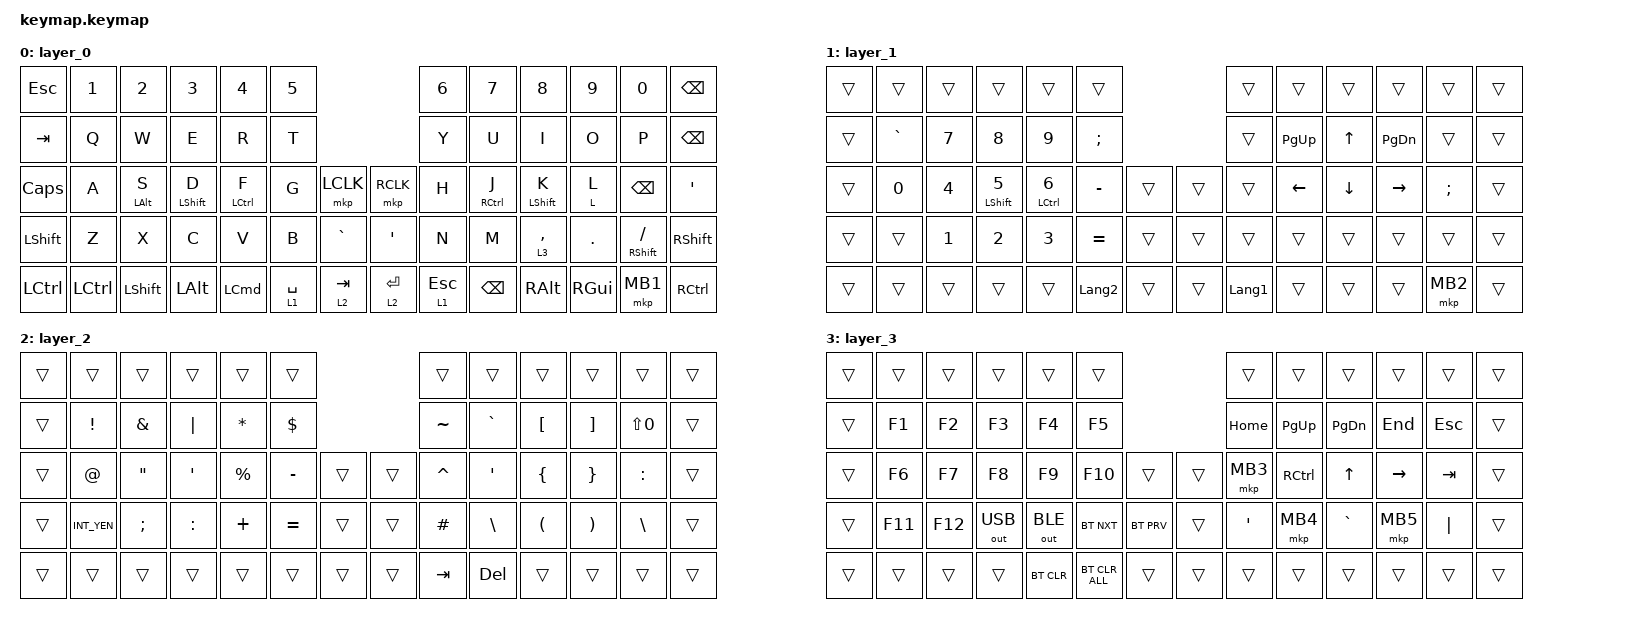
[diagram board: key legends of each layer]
#include <behaviors.dtsi>
#include <dt-bindings/zmk/bt.h>
#include <dt-bindings/zmk/keys.h>
#include <dt-bindings/zmk/outputs.h>
#include <dt-bindings/zmk/pointing.h>

&mt { require-prior-idle-ms = <300>; };

/ {
    combos {
        compatible = "zmk,combos";

        bt_clear {
            bindings = <&bt BT_CLR>;
            key-positions = <28 29>;
            layers = <2>;
        };
    };

    keymap {
        compatible = "zmk,keymap";

        layer_0 {
            bindings = <
&kp ESC    &kp N1     &kp N2          &kp N3            &kp N4            &kp N5                               &kp N6        &kp N7       &kp N8            &kp N9    &kp N0                &kp BSPC
&kp TAB    &kp Q      &kp W           &kp E             &kp R             &kp T                                &kp Y         &kp U        &kp I             &kp O     &kp P                 &kp BSPC
&kp CAPS   &kp A      &mt LEFT_ALT S  &mt LEFT_SHIFT D  &mt LCTRL F       &kp G        &mkp LCLK  &mkp RCLK    &kp H         &mt RCTRL J  &mt LEFT_SHIFT K  &mt L L   &kp BACKSPACE         &kp SQT
&kp LSHFT  &kp Z      &kp X           &kp C             &kp V             &kp B        &kp GRAVE  &kp SQT      &kp N         &kp M        &lt 3 COMMA       &kp DOT   &mt RIGHT_SHIFT FSLH  &kp RSHFT
&kp LCTRL  &kp LCTRL  &kp LEFT_SHIFT  &kp LALT          &kp LEFT_COMMAND  &lt 1 SPACE  &lt 2 TAB  &lt 2 ENTER  &lt 1 ESCAPE  &kp BSPC     &kp RALT          &kp RGUI  &mkp MB1              &kp RCTRL
            >;
        };

        layer_1 {
            bindings = <
&trans  &trans        &trans        &trans                   &trans                     &trans                          &trans          &trans          &trans          &trans           &trans         &trans
&trans  &kp GRAVE     &kp NUMBER_7  &kp NUMBER_8             &kp NUMBER_9               &kp SEMICOLON                   &trans          &kp PAGE_UP     &kp UP_ARROW    &kp PAGE_DOWN    &trans         &trans
&trans  &kp NUMBER_0  &kp NUMBER_4  &mt LEFT_SHIFT NUMBER_5  &mt LEFT_CONTROL NUMBER_6  &kp MINUS       &trans  &trans  &trans          &kp LEFT_ARROW  &kp DOWN_ARROW  &kp RIGHT_ARROW  &kp SEMICOLON  &trans
&trans  &trans        &kp NUMBER_1  &kp NUMBER_2             &kp NUMBER_3               &kp EQUAL       &trans  &trans  &trans          &trans          &trans          &trans           &trans         &trans
&trans  &trans        &trans        &trans                   &trans                     &kp LANGUAGE_2  &trans  &trans  &kp LANGUAGE_1  &trans          &trans          &trans           &mkp MB2       &trans
            >;
        };

        layer_2 {
            bindings = <
&trans  &trans           &trans             &trans            &trans        &trans                      &trans     &trans         &trans                &trans                 &trans         &trans
&trans  &kp EXCLAMATION  &kp AMPERSAND      &kp PIPE          &kp ASTERISK  &kp DOLLAR                  &kp TILDE  &kp GRAVE      &kp LEFT_BRACKET      &kp RIGHT_BRACKET      &kp LS(N0)     &trans
&trans  &kp AT_SIGN      &kp DOUBLE_QUOTES  &kp SINGLE_QUOTE  &kp PERCENT   &kp MINUS   &trans  &trans  &kp CARET  &kp SQT        &kp LEFT_BRACE        &kp RIGHT_BRACE        &kp COLON      &trans
&trans  &kp INT_YEN      &kp SEMICOLON      &kp COLON         &kp PLUS      &kp EQUAL   &trans  &trans  &kp HASH   &kp BACKSLASH  &kp LEFT_PARENTHESIS  &kp RIGHT_PARENTHESIS  &kp BACKSLASH  &trans
&trans  &trans           &trans             &trans            &trans        &trans      &trans  &trans  &kp TAB    &kp DEL        &trans                &trans                 &trans         &trans
            >;
        };

        layer_3 {
            bindings = <
&trans  &trans   &trans   &trans        &trans        &trans                              &trans            &trans             &trans         &trans     &trans      &trans
&trans  &kp F1   &kp F2   &kp F3        &kp F4        &kp F5                              &kp HOME          &kp PG_UP          &kp PAGE_DOWN  &kp END    &kp ESCAPE  &trans
&trans  &kp F6   &kp F7   &kp F8        &kp F9        &kp F10         &trans      &trans  &mkp MB3          &kp RIGHT_CONTROL  &kp UP_ARROW   &kp RIGHT  &kp TAB     &trans
&trans  &kp F11  &kp F12  &out OUT_USB  &out OUT_BLE  &bt BT_NXT      &bt BT_PRV  &trans  &kp SINGLE_QUOTE  &mkp MB4           &kp GRAVE      &mkp MB5   &kp PIPE    &trans
&trans  &trans   &trans   &trans        &bt BT_CLR    &bt BT_CLR_ALL  &trans      &trans  &trans            &trans             &trans         &trans     &trans      &trans
            >;
        };
    };
};
